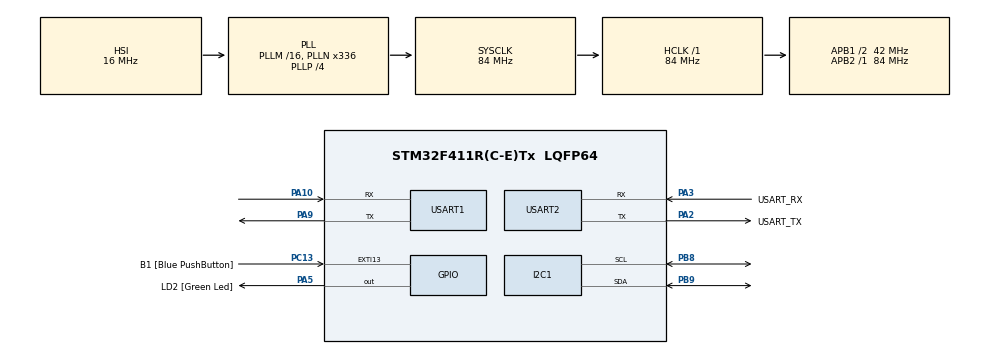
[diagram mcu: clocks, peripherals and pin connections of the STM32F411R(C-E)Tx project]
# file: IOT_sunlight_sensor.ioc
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Mcu.Family=STM32F4
Mcu.Name=STM32F411R(C-E)Tx
Mcu.Package=LQFP64
NVIC.PriorityGroup=NVIC_PRIORITYGROUP_0
PA10.Mode=Asynchronous
PA10.Signal=USART1_RX
PA13.GPIO_Label=TMS
PA13.Mode=Serial_Wire
PA13.Signal=SYS_JTMS-SWDIO
PA14.GPIO_Label=TCK
PA14.Mode=Serial_Wire
PA14.Signal=SYS_JTCK-SWCLK
PA2.GPIO_Label=USART_TX
PA2.Mode=Asynchronous
PA2.Signal=USART2_TX
PA3.GPIO_Label=USART_RX
PA3.Mode=Asynchronous
PA3.Signal=USART2_RX
PA5.GPIO_Label=LD2 [Green Led]
PA5.Signal=GPIO_Output
PA9.Mode=Asynchronous
PA9.Signal=USART1_TX
PB3.GPIO_Label=SWO
PB3.Signal=SYS_JTDO-SWO
PB8.Mode=I2C
PB8.Signal=I2C1_SCL
PB9.Mode=I2C
PB9.Signal=I2C1_SDA
PC13-ANTI_TAMP.GPIO_Label=B1 [Blue PushButton]
PC13-ANTI_TAMP.GPIO_ModeDefaultEXTI=GPIO_MODE_IT_FALLING
PC13-ANTI_TAMP.Signal=GPXTI13
PC14-OSC32_IN.Mode=LSE-External-Oscillator
PC14-OSC32_IN.Signal=RCC_OSC32_IN
PC15-OSC32_OUT.Mode=LSE-External-Oscillator
PC15-OSC32_OUT.Signal=RCC_OSC32_OUT
PH0\ -\ OSC_IN.Mode=HSE-External-Clock-Source
PH0\ -\ OSC_IN.Signal=RCC_OSC_IN
PH1\ -\ OSC_OUT.Mode=HSE-External-Clock-Source
PH1\ -\ OSC_OUT.Signal=RCC_OSC_OUT
ProjectManager.HeapSize=0x200
ProjectManager.StackSize=0x400
ProjectManager.TargetToolchain=CMake
RCC.48MHZClocksFreq_Value=84000000
RCC.AHBFreq_Value=84000000
RCC.APB1CLKDivider=RCC_HCLK_DIV2
RCC.APB1Freq_Value=42000000
RCC.APB1TimFreq_Value=84000000
RCC.APB2Freq_Value=84000000
RCC.APB2TimFreq_Value=84000000
RCC.CortexFreq_Value=84000000
RCC.FLatency-AdvancedSettings=FLASH_LATENCY_2
RCC.HCLKFreq_Value=84000000
RCC.HSE_VALUE=8000000
RCC.HSI_VALUE=16000000
RCC.PLLN=336
RCC.PLLP=RCC_PLLP_DIV4
RCC.SYSCLKFreq_VALUE=84000000
RCC.SYSCLKSource=RCC_SYSCLKSOURCE_PLLCLK
RCC.VCOOutputFreq_Value=336000000
USART1.VirtualMode=VM_ASYNC
USART2.VirtualMode=VM_ASYNC
board=NUCLEO-F411RE

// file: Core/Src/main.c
/* USER CODE BEGIN Header */
/**
  ******************************************************************************
  * @file           : main.c
  * @brief          : Main program body
  ******************************************************************************
  * @attention
  *
  * Copyright (c) 2026 STMicroelectronics.
  * All rights reserved.
  *
  * This software is licensed under terms that can be found in the LICENSE file
  * in the root directory of this software component.
  * If no LICENSE file comes with this software, it is provided AS-IS.
  *
  ******************************************************************************
  */
/* USER CODE END Header */
#include "main.h"

/* USER CODE BEGIN Includes */
#include "si1151.h"
#include <stdio.h>
/* USER CODE END Includes */

I2C_HandleTypeDef hi2c1;

UART_HandleTypeDef huart1;
UART_HandleTypeDef huart2;

/* USER CODE BEGIN PV */
SI1151_Data sensor_data;
char uart_buf[80];
/* USER CODE END PV */

void SystemClock_Config(void);
static void MX_GPIO_Init(void);
static void MX_USART2_UART_Init(void);
static void MX_I2C1_Init(void);
static void MX_USART1_UART_Init(void);

int main(void)
{

  /* MCU Configuration--------------------------------------------------------*/

  /* Reset of all peripherals, Initializes the Flash interface and the Systick. */
  HAL_Init();

  /* Configure the system clock */
  SystemClock_Config();

  /* Initialize all configured peripherals */
  MX_GPIO_Init();
  MX_USART2_UART_Init();
  MX_I2C1_Init();
  MX_USART1_UART_Init();
  /* USER CODE BEGIN 2 */
  HAL_Delay(100);

  // Configuration XBee en mode commande AT
  //HAL_Delay(1100);
  //HAL_UART_Transmit(&huart1, (uint8_t*)"+++", 3, HAL_MAX_DELAY);
  //HAL_Delay(1100);
  //
  //// PAN ID identique au coordinateur
  //HAL_UART_Transmit(&huart1, (uint8_t*)"ATID1234\r", 9, HAL_MAX_DELAY);
  //HAL_Delay(100);
  //// Destination broadcast
  //HAL_UART_Transmit(&huart1, (uint8_t*)"ATDLFFFF\r", 9, HAL_MAX_DELAY);
  //HAL_Delay(100);
  //HAL_UART_Transmit(&huart1, (uint8_t*)"ATDH0\r", 6, HAL_MAX_DELAY);
  //HAL_Delay(100);
  //// Sauvegarder
  //HAL_UART_Transmit(&huart1, (uint8_t*)"ATWR\r", 5, HAL_MAX_DELAY);
  //HAL_Delay(100);
  //// Quitter le mode commande
  //HAL_UART_Transmit(&huart1, (uint8_t*)"ATCN\r", 5, HAL_MAX_DELAY);
  //HAL_Delay(100);
  if (SI1151_Init(&hi2c1) != HAL_OK) {
    // Affiche un message au lieu de blinker à l'aveugle
    HAL_UART_Transmit(&huart2, (uint8_t*)"Init failed\r\n", 13, HAL_MAX_DELAY);
    while (1);
  }
  HAL_UART_Transmit(&huart2, (uint8_t*)"Init OK\r\n", 9, HAL_MAX_DELAY);
  /* USER CODE END 2 */

  /* Infinite loop */
  while (1)
  {

    /* USER CODE BEGIN 3 */

    if (SI1151_Read(&hi2c1, &sensor_data) == HAL_OK) {
        int len = snprintf(uart_buf, sizeof(uart_buf),
            "VIS=%5u  IR=%5u\r\n",
            sensor_data.visible,
            sensor_data.infrared);
        HAL_UART_Transmit(&huart2, (uint8_t *)uart_buf, len, HAL_MAX_DELAY);
    }
    HAL_Delay(500);
  }
  /* USER CODE END 3 */
}

void SystemClock_Config(void)
{
  RCC_OscInitTypeDef RCC_OscInitStruct = {0};
  RCC_ClkInitTypeDef RCC_ClkInitStruct = {0};

  /** Configure the main internal regulator output voltage
  */
  __HAL_RCC_PWR_CLK_ENABLE();
  __HAL_PWR_VOLTAGESCALING_CONFIG(PWR_REGULATOR_VOLTAGE_SCALE1);

  /** Initializes the RCC Oscillators according to the specified parameters
  * in the RCC_OscInitTypeDef structure.
  */
  RCC_OscInitStruct.OscillatorType = RCC_OSCILLATORTYPE_HSI;
  RCC_OscInitStruct.HSIState = RCC_HSI_ON;
  RCC_OscInitStruct.HSICalibrationValue = RCC_HSICALIBRATION_DEFAULT;
  RCC_OscInitStruct.PLL.PLLState = RCC_PLL_ON;
  RCC_OscInitStruct.PLL.PLLSource = RCC_PLLSOURCE_HSI;
  RCC_OscInitStruct.PLL.PLLM = 16;
  RCC_OscInitStruct.PLL.PLLN = 336;
  RCC_OscInitStruct.PLL.PLLP = RCC_PLLP_DIV4;
  RCC_OscInitStruct.PLL.PLLQ = 4;
  if (HAL_RCC_OscConfig(&RCC_OscInitStruct) != HAL_OK)
  {
    Error_Handler();
  }

  /** Initializes the CPU, AHB and APB buses clocks
  */
  RCC_ClkInitStruct.ClockType = RCC_CLOCKTYPE_HCLK|RCC_CLOCKTYPE_SYSCLK
                              |RCC_CLOCKTYPE_PCLK1|RCC_CLOCKTYPE_PCLK2;
  RCC_ClkInitStruct.SYSCLKSource = RCC_SYSCLKSOURCE_PLLCLK;
  RCC_ClkInitStruct.AHBCLKDivider = RCC_SYSCLK_DIV1;
  RCC_ClkInitStruct.APB1CLKDivider = RCC_HCLK_DIV2;
  RCC_ClkInitStruct.APB2CLKDivider = RCC_HCLK_DIV1;

  if (HAL_RCC_ClockConfig(&RCC_ClkInitStruct, FLASH_LATENCY_2) != HAL_OK)
  {
    Error_Handler();
  }
}

static void MX_I2C1_Init(void)
{

  hi2c1.Instance = I2C1;
  hi2c1.Init.ClockSpeed = 100000;
  hi2c1.Init.DutyCycle = I2C_DUTYCYCLE_2;
  hi2c1.Init.OwnAddress1 = 0;
  hi2c1.Init.AddressingMode = I2C_ADDRESSINGMODE_7BIT;
  hi2c1.Init.DualAddressMode = I2C_DUALADDRESS_DISABLE;
  hi2c1.Init.OwnAddress2 = 0;
  hi2c1.Init.GeneralCallMode = I2C_GENERALCALL_DISABLE;
  hi2c1.Init.NoStretchMode = I2C_NOSTRETCH_DISABLE;
  if (HAL_I2C_Init(&hi2c1) != HAL_OK)
  {
    Error_Handler();
  }

}

static void MX_USART1_UART_Init(void)
{

  huart1.Instance = USART1;
  huart1.Init.BaudRate = 9600;
  huart1.Init.WordLength = UART_WORDLENGTH_8B;
  huart1.Init.StopBits = UART_STOPBITS_1;
  huart1.Init.Parity = UART_PARITY_NONE;
  huart1.Init.Mode = UART_MODE_TX_RX;
  huart1.Init.HwFlowCtl = UART_HWCONTROL_NONE;
  huart1.Init.OverSampling = UART_OVERSAMPLING_16;
  if (HAL_UART_Init(&huart1) != HAL_OK)
  {
    Error_Handler();
  }

}

static void MX_USART2_UART_Init(void)
{

  huart2.Instance = USART2;
  huart2.Init.BaudRate = 115200;
  huart2.Init.WordLength = UART_WORDLENGTH_8B;
  huart2.Init.StopBits = UART_STOPBITS_1;
  huart2.Init.Parity = UART_PARITY_NONE;
  huart2.Init.Mode = UART_MODE_TX_RX;
  huart2.Init.HwFlowCtl = UART_HWCONTROL_NONE;
  huart2.Init.OverSampling = UART_OVERSAMPLING_16;
  if (HAL_UART_Init(&huart2) != HAL_OK)
  {
    Error_Handler();
  }

}

static void MX_GPIO_Init(void)
{
  GPIO_InitTypeDef GPIO_InitStruct = {0};

  /* GPIO Ports Clock Enable */
  __HAL_RCC_GPIOC_CLK_ENABLE();
  __HAL_RCC_GPIOH_CLK_ENABLE();
  __HAL_RCC_GPIOA_CLK_ENABLE();
  __HAL_RCC_GPIOB_CLK_ENABLE();

  /*Configure GPIO pin Output Level */
  HAL_GPIO_WritePin(LD2_GPIO_Port, LD2_Pin, GPIO_PIN_RESET);

  /*Configure GPIO pin : B1_Pin */
  GPIO_InitStruct.Pin = B1_Pin;
  GPIO_InitStruct.Mode = GPIO_MODE_IT_FALLING;
  GPIO_InitStruct.Pull = GPIO_NOPULL;
  HAL_GPIO_Init(B1_GPIO_Port, &GPIO_InitStruct);

  /*Configure GPIO pin : LD2_Pin */
  GPIO_InitStruct.Pin = LD2_Pin;
  GPIO_InitStruct.Mode = GPIO_MODE_OUTPUT_PP;
  GPIO_InitStruct.Pull = GPIO_NOPULL;
  GPIO_InitStruct.Speed = GPIO_SPEED_FREQ_LOW;
  HAL_GPIO_Init(LD2_GPIO_Port, &GPIO_InitStruct);

}

void Error_Handler(void)
{
  __disable_irq();
  while (1)
  {
  }
}
